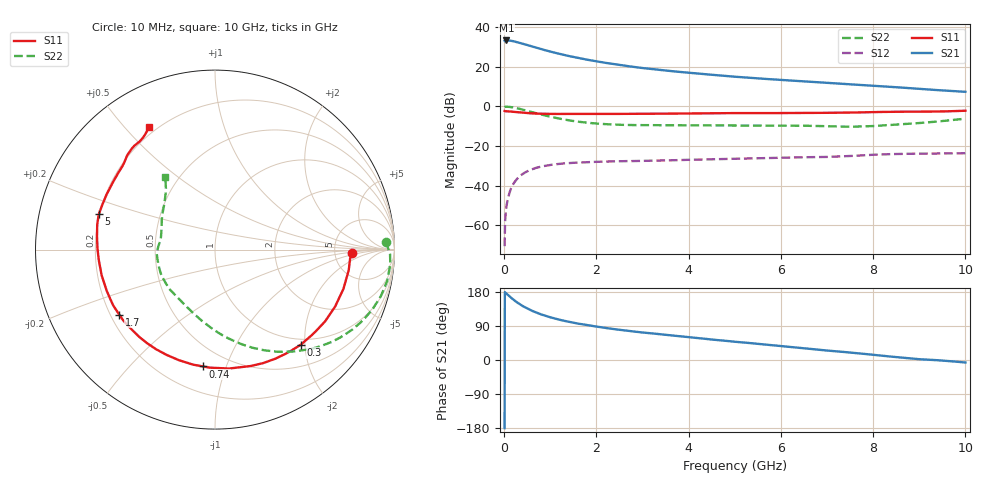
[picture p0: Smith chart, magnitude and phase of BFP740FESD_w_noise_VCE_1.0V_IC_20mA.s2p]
! Infineon Technologies  Discrete & RF Semiconductors
! BFP740FESD
! VCE =  1.0 V,  IC =  20 mA
! Common Emitter S-Parameters:  Jan 2016
# GHz  S  MA  R  50
!  f  S11  S21  S12  S22
! GHz  MAG  ANG  MAG  ANG  MAG  ANG  MAG  ANG
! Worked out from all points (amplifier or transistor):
!   233 points, 10 MHz to 10 GHz, reference 50 ohm
!   highest |S21| = 33.2 dB at 50 MHz (marker M1)
!   |S21| within 3 dB of that: start of sweep to 601 MHz
!   unconditionally stable (mu >= 1): start of sweep to 12.91 MHz; 5.426 GHz to end of sweep
!   at 200 MHz: K = 0.09, MSG = 36.0 dB, |S12| = -39.1 dB
!   at 1.74 GHz: K = 0.46, MSG = 26.0 dB, |S12| = -28.2 dB
!   at 10 GHz: K = 1.28, MAG = 12.3 dB, |S12| = -23.6 dB
!   lowest NFmin = 0.80 dB at 450 MHz
!   S11 on the Smith chart (normalised r, x): 10 MHz: 7.41, -0.76; 300 MHz: 0.89, -1.91; 740 MHz: 0.37, -0.83; 1.7 GHz: 0.24, -0.29; 5 GHz: 0.20, +0.14; 10 GHz: 0.17, +0.59
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0.01  0.7645 -1.6  44.83 -179.7  0.0003 29.8  0.9534 2.6
0.02  0.7545 -3.7  45.7 178.3  0.0012 85.7  0.9756 -1.5
0.05  0.7539 -8.7  45.77 175.0  0.003 85.8  0.9802 -4.8
0.1  0.7483 -17.0  45.75 169.9  0.0057 81.6  0.9749 -10.4
0.15  0.7407 -25.4  44.93 164.4  0.0086 77.2  0.9592 -15.8
0.24  0.7225 -39.2  42.67 155.6  0.013 71.1  0.9182 -24.6
0.3  0.7134 -48.0  41.07 150.4  0.0158 67.4  0.8861 -30.1
0.4  0.6946 -61.1  38.08 142.6  0.0198 61.3  0.8284 -38.4
0.5  0.6786 -72.9  35.13 135.9  0.0232 56.3  0.7714 -45.8
0.74  0.6544 -95.9  29.04 123.2  0.0291 46.8  0.6504 -60.5
0.9  0.6481 -108.1  25.79 116.4  0.032 42.0  0.5853 -69.1
1.16  0.6438 -123.8  21.59 107.5  0.0352 36.1  0.5014 -81.2
1.4  0.6433 -135.1  18.57 100.8  0.0372 32.1  0.4451 -91.2
1.68  0.6447 -145.1  15.95 94.4  0.0387 28.8  0.4011 -101.0
1.7  0.6446 -145.8  15.78 93.9  0.0388 28.6  0.3985 -101.7
2.4  0.6453 -163.2  11.5 81.2  0.0412 23.9  0.3468 -121.3
3.4  0.6532 -179.2  8.205 67.7  0.0432 22.0  0.3355 -138.3
5  0.6768 163.1  5.586 48.2  0.0478 21.3  0.3301 -156.6
5.1  0.6763 162.2  5.476 47.2  0.0481 21.3  0.3294 -157.6
6.8  0.6842 143.9  4.044 27.4  0.0528 20.6  0.3198 179.9
8.4  0.7295 129.3  3.096 8.8  0.0627 19.0  0.3414 150.2
10  0.7758 118.1  2.326 -6.6  0.0659 12.9  0.4894 124.4
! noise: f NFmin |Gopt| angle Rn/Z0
0.45  0.8  0.01  -145  0.08
2.4  0.82  0.04  -161  0.09
5.5  0.98  0.22  166  0.08
10  1.49  0.37  -124  0.16
